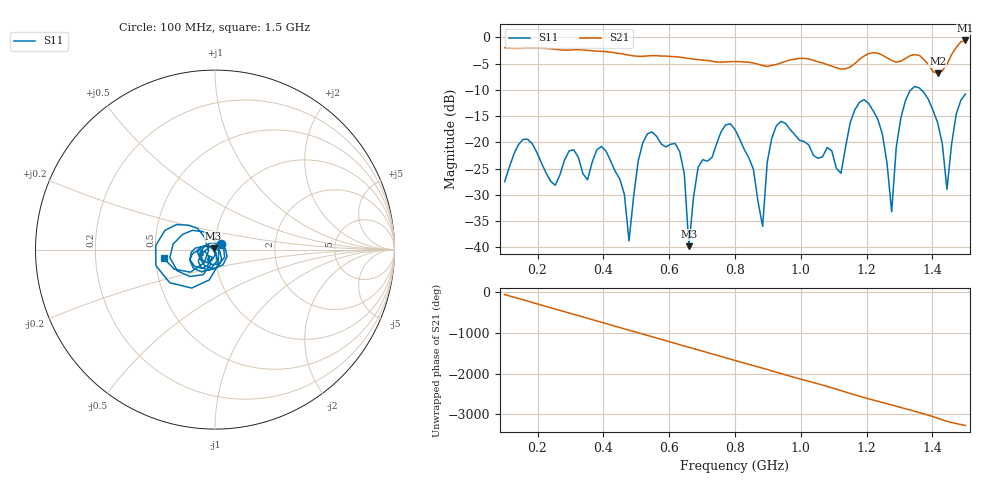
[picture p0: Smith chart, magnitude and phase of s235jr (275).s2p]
! NanoVNA-App
! Date: 2025-09-25 15:06:18
! Start: 100MHz Stop: 1,5GHz Points: 101
! S-Parameter data: F S11 S21 S12 S22
# Hz S RI R 50
!  Frequency  S11_Real  S11_Imag  S21_Real  S21_Imag  S12_Real  S12_Imag  S22_Real  S22_Imag
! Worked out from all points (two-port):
!   101 points, 100 MHz to 1.5 GHz, reference 50 ohm
!   highest |S21| = -0.57 dB at 1.5 GHz (marker M1); lowest = -6.8 dB at 1.416 GHz (marker M2)
!   |S21| within 3 dB of the highest: start of sweep to 503.3 MHz; 524.2 MHz to 595 MHz (70.76 MHz wide, 12.6 % of centre) (the widest 2 of 5)
!   lowest |S11| = -39.8 dB at 660 MHz (marker M3), VSWR 1.02, Z = 49.2 + j0.623 ohm
!   |S11| at or under -10 dB: start of sweep to 1.334 GHz; 1.366 GHz to end of sweep
!   S12 and S22 are empty: the file has one direction only
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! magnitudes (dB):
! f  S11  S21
! 100 MHz  -27.5  -2.0
! 156 MHz  -19.4  -2.0
! 338 MHz  -26.0  -2.4
! 408 MHz  -21.6  -2.7
! 478 MHz  -38.7  -3.4
! 520 MHz  -20.0  -3.6
! 576 MHz  -20.3  -3.5
! 632 MHz  -21.7  -3.7
! 660 MHz  -39.8  -4.0
! 688 MHz  -24.7  -4.2
! 800 MHz  -17.5  -4.6
! 884 MHz  -36.0  -5.4
! 926 MHz  -16.8  -5.2
! 1.038 GHz  -22.4  -4.3
! 1.122 GHz  -25.9  -6.0
! 1.192 GHz  -11.8  -3.5
! 1.248 GHz  -18.5  -3.4
! 1.276 GHz  -33.2  -4.4
! 1.332 GHz  -10.1  -3.5
! 1.416 GHz  -16.3  -6.8
! 1.444 GHz  -28.9  -5.1
! 1.5 GHz  -10.8  -0.6
